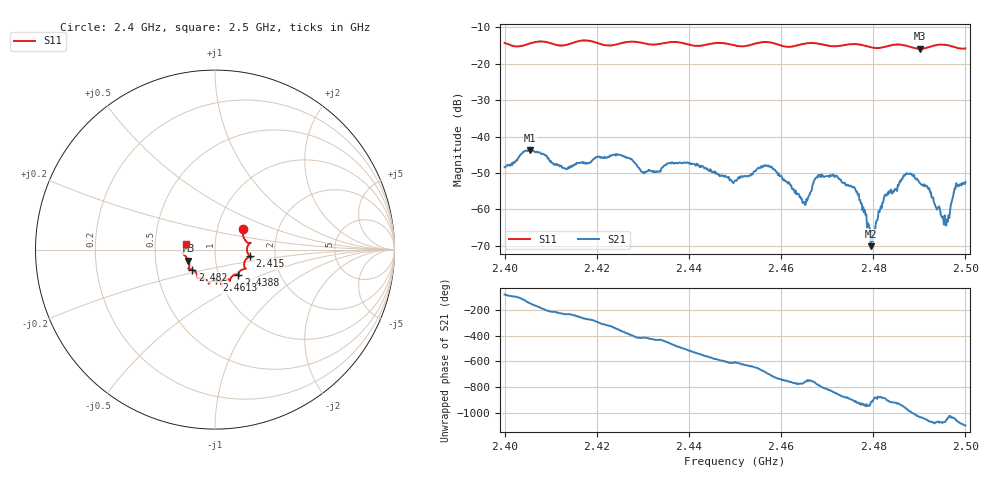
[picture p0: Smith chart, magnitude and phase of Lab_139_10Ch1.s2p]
# Hz S RI R 50
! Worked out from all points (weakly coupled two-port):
!   601 points, 2.4 GHz to 2.5 GHz, reference 50 ohm
!   highest |S21| = -43.77 dB at 2.4055 GHz (marker M1); lowest = -70.1 dB at 2.4795 GHz (marker M2)
!   lowest |S11| = -15.9 dB at 2.4902 GHz (marker M3), VSWR 1.38, Z = 36.8 - j4.67 ohm
!   |S11| at or under -10 dB: start of sweep to end of sweep
!   S12 and S22 are empty: the file has one direction only
!   S11 on the Smith chart (normalised r, x): 2.4 GHz: 1.33, +0.31; 2.415 GHz: 1.47, -0.11; 2.4388 GHz: 1.24, -0.36; 2.4613 GHz: 0.96, -0.34; 2.482 GHz: 0.76, -0.17; 2.5 GHz: 0.72, +0.05
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2.4e9  0.1579 0.112  0.000715 -0.00372  0 0  0 0
2.4055e9  0.187 0.0363  -0.00544 -0.00352  0 0  0 0
2.415e9  0.1924 -0.0358  -0.00193 0.00353  0 0  0 0
2.416667e9  0.2036 -0.0438  -0.00079 0.0043  0 0  0 0
2.424667e9  0.1627 -0.0925  0.00562 0.00084  0 0  0 0
2.433333e9  0.1324 -0.1314  0.000967 -0.00317  0 0  0 0
2.438833e9  0.1298 -0.1407  -0.00332 -0.00288  0 0  0 0
2.45e9  0.0689 -0.1649  -0.00103 0.00227  0 0  0 0
2.456833e9  0.038 -0.1954  0.00341 0.00202  0 0  0 0
2.461333e9  0.00756 -0.1711  0.00198 -0.0013  0 0  0 0
2.464833e9  -0.0325 -0.1848  0.000808 -0.000959  0 0  0 0
2.466667e9  -0.0348 -0.19  0.00156 -0.000987  0 0  0 0
2.4685e9  -0.0352 -0.1834  0.000863 -0.00284  0 0  0 0
2.475667e9  -0.0947 -0.1609  -0.00201 0.000146  0 0  0 0
2.4795e9  -0.1032 -0.1329  -0.000296 9.68e-05  0 0  0 0
2.482e9  -0.1256 -0.1116  -0.00118 -0.00033  0 0  0 0
2.483333e9  -0.1392 -0.1089  -0.00175 0.000209  0 0  0 0
2.4875e9  -0.1446 -0.0983  -0.00075 0.00298  0 0  0 0
2.490167e9  -0.1483 -0.0618  0.00157 0.00165  0 0  0 0
2.495667e9  -0.181 -0.0182  0.0006 9.96e-05  0 0  0 0
2.498e9  -0.167 -0.000302  0.00215 0.000798  0 0  0 0
2.5e9  -0.1592 0.0326  0.00224 -0.000752  0 0  0 0
